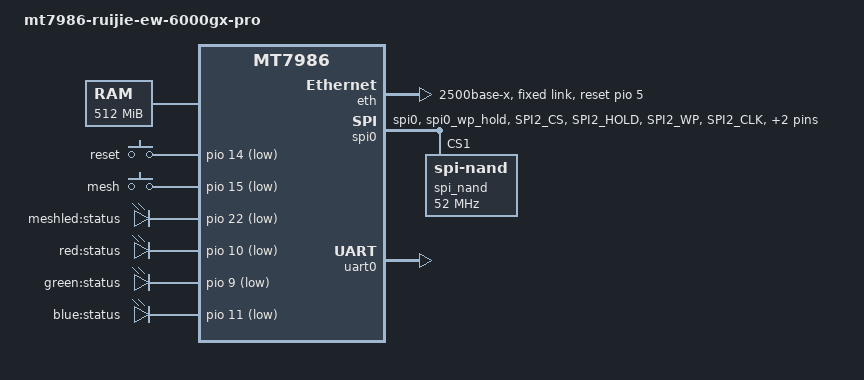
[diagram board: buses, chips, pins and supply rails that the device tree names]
// SPDX-License-Identifier: GPL-2.0-or-later

/dts-v1/;
#include "mt7986.dtsi"
#include <dt-bindings/gpio/gpio.h>

/ {
	#address-cells = <1>;
	#size-cells = <1>;
	model = "mt7986-ruijie-ew-6000gx-pro";
	compatible = "mediatek,mt7986", "mediatek,mt7986-rfb";

	chosen {
		stdout-path = &uart0;
		tick-timer = &timer0;
	};

	config {
		bootcmd = "mtkboardboot";
		blink_led = "meshled:status";
		system_led = "meshled:status";

		environment {
			bootconf = "config@ruijie_x60_gsw_en8811h_phy";
		};
	};

	memory@40000000 {
		device_type = "memory";
		reg = <0x40000000 0x20000000>;
	};

	mtd-layout {
		layout@0 {
			label = "default";
			cmdline = "console=ttyS0,115200n8 earlycon=uart8250,mmio32,0x11002000";
			mtdids = "nmbm0=nmbm0";
			mtdparts = "nmbm0:1024k(bl2),512k(u-boot-env),2048k(Factory),2048k(fip),512k(product_info),512k(kdump),64512k(ubi)";
		};

		layout@1 {
			label = "ubi-107m";
			mtdids = "nmbm0=nmbm0";
			mtdparts = "nmbm0:1024k(bl2),512k(u-boot-env),2048k(Factory),2048k(fip),512k(product_info),512k(kdump),109568k(ubi)";
		};
	};

	gpio-keys {
		compatible = "gpio-keys";

		reset-button {
			label = "reset";
			linux,code = <KEY_RESTART>;
			gpios = <&pio 14 GPIO_ACTIVE_LOW>;
		};

		mesh-button {
			label = "mesh";
			linux,code = <BTN_9>;
			gpios = <&pio 15 GPIO_ACTIVE_LOW>;
		};

	};

	gpio-leds {
		compatible = "gpio-leds";

		led-0 {
			label = "meshled:status";
			gpios = <&pio 22 GPIO_ACTIVE_LOW>;
			default-state = "off";
		};

		led-1 {
			label = "red:status";
			gpios = <&pio 10 GPIO_ACTIVE_LOW>;
			default-state = "off";
		};

		led-2 {
			label = "green:status";
			gpios = <&pio 9 GPIO_ACTIVE_LOW>;
			default-state = "off";
		};

		led-3 {
			label = "blue:status";
			gpios = <&pio 11 GPIO_ACTIVE_LOW>;
			default-state = "off";
		};
	};

	bl2_verify {
		bl2_compatible = "spim-nand";
	};
};

&eth {
	status = "okay";
	mediatek,gmac-id = <0>;
	phy-mode = "2500base-x";
	mediatek,switch = "auto";
	reset-gpios = <&pio 5 GPIO_ACTIVE_HIGH>;

	fixed-link {
		speed = <2500>;
		full-duplex;
	};
};

&pio {
	spi_flash_pins: spi0-pins-func-1 {
		mux {
			function = "flash";
			groups = "spi0", "spi0_wp_hold";
		};

		conf-pu {
			pins = "SPI2_CS", "SPI2_HOLD", "SPI2_WP";
			drive-strength = <MTK_DRIVE_4mA>;
			bias-pull-up = <MTK_PUPD_SET_R1R0_11>;
		};

		conf-pd {
			pins = "SPI2_CLK", "SPI2_MOSI", "SPI2_MISO";
			drive-strength = <MTK_DRIVE_4mA>;
			bias-pull-down = <MTK_PUPD_SET_R1R0_11>;
		};
	};
};

&spi0 {
	#address-cells = <1>;
	#size-cells = <0>;
	pinctrl-names = "default";
	pinctrl-0 = <&spi_flash_pins>;
	status = "okay";
	must_tx;
	enhance_timing;
	dma_ext;
	ipm_design;
	support_quad;
	tick_dly = <2>;
	sample_sel = <0>;

	spi_nand@0 {
		compatible = "spi-nand";
		reg = <1>;
		spi-max-frequency = <52000000>;
	};
};

&uart0 {
	status = "okay";
};

&watchdog {
	status = "disabled";
};
